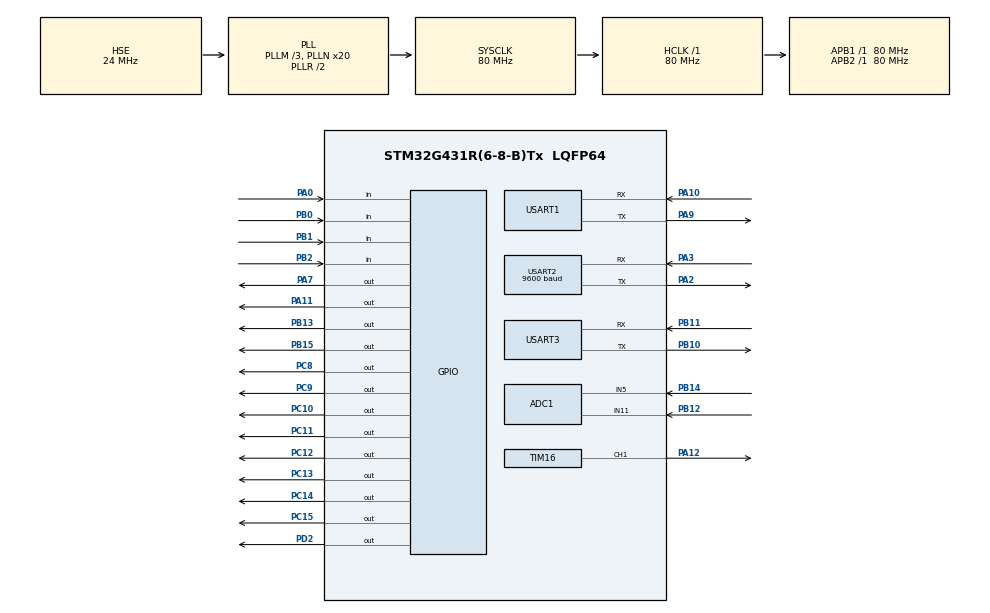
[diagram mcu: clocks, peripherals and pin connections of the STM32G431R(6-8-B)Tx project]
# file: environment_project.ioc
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ADC1.Channel-0\#ChannelRegularConversion=ADC_CHANNEL_5
ADC1.Channel-1\#ChannelRegularConversion=ADC_CHANNEL_11
ADC1.DiscontinuousConvMode=ENABLE
ADC1.NbrOfConversion=2
ADC1.NbrOfConversionFlag=1
ADC1.OffsetNumber-0\#ChannelRegularConversion=ADC_OFFSET_NONE
ADC1.OffsetNumber-1\#ChannelRegularConversion=ADC_OFFSET_NONE
ADC1.Rank-0\#ChannelRegularConversion=1
ADC1.Rank-1\#ChannelRegularConversion=2
ADC1.SamplingTime-0\#ChannelRegularConversion=ADC_SAMPLETIME_2CYCLES_5
ADC1.SamplingTime-1\#ChannelRegularConversion=ADC_SAMPLETIME_2CYCLES_5
ADC1.master=1
Mcu.Family=STM32G4
Mcu.Name=STM32G431R(6-8-B)Tx
Mcu.Package=LQFP64
NVIC.PriorityGroup=NVIC_PRIORITYGROUP_4
NVIC.USART2_IRQn=true\:0\:0\:false\:false\:true\:true\:true\:true
NVIC.USART3_IRQn=true\:0\:0\:false\:false\:true\:true\:true\:true
PA0.GPIO_PuPd=GPIO_PULLUP
PA0.Signal=GPIO_Input
PA10.Mode=Asynchronous
PA10.Signal=USART1_RX
PA11.PinState=GPIO_PIN_RESET
PA11.Signal=GPIO_Output
PA12.Signal=S_TIM16_CH1
PA13.Mode=Serial_Wire
PA13.Signal=SYS_JTMS-SWDIO
PA14.Mode=Serial_Wire
PA14.Signal=SYS_JTCK-SWCLK
PA2.Mode=Asynchronous
PA2.Signal=USART2_TX
PA3.Mode=Asynchronous
PA3.Signal=USART2_RX
PA7.Signal=GPIO_Output
PA9.Mode=Asynchronous
PA9.Signal=USART1_TX
PB0.GPIO_PuPd=GPIO_PULLUP
PB0.Signal=GPIO_Input
PB1.GPIO_PuPd=GPIO_PULLUP
PB1.Signal=GPIO_Input
PB10.Mode=Asynchronous
PB10.Signal=USART3_TX
PB11.Mode=Asynchronous
PB11.Signal=USART3_RX
PB12.Mode=IN11-Single-Ended
PB12.Signal=ADC1_IN11
PB13.Signal=GPIO_Output
PB14.Mode=IN5-Single-Ended
PB14.Signal=ADC1_IN5
PB15.Signal=GPIO_Output
PB2.GPIO_PuPd=GPIO_PULLUP
PB2.Signal=GPIO_Input
PC10.PinState=GPIO_PIN_SET
PC10.Signal=GPIO_Output
PC11.PinState=GPIO_PIN_SET
PC11.Signal=GPIO_Output
PC12.PinState=GPIO_PIN_SET
PC12.Signal=GPIO_Output
PC13.PinState=GPIO_PIN_SET
PC13.Signal=GPIO_Output
PC14-OSC32_IN.PinState=GPIO_PIN_SET
PC14-OSC32_IN.Signal=GPIO_Output
PC15-OSC32_OUT.PinState=GPIO_PIN_SET
PC15-OSC32_OUT.Signal=GPIO_Output
PC8.PinState=GPIO_PIN_SET
PC8.Signal=GPIO_Output
PC9.PinState=GPIO_PIN_SET
PC9.Signal=GPIO_Output
PD2.Signal=GPIO_Output
PF0-OSC_IN.Mode=HSE-External-Oscillator
PF0-OSC_IN.Signal=RCC_OSC_IN
PF1-OSC_OUT.Mode=HSE-External-Oscillator
PF1-OSC_OUT.Signal=RCC_OSC_OUT
ProjectManager.HeapSize=0x200
ProjectManager.StackSize=0x400
ProjectManager.TargetToolchain=MDK-ARM V5.32
RCC.ADC12Freq_Value=80000000
RCC.AHBFreq_Value=80000000
RCC.APB1Freq_Value=80000000
RCC.APB1TimFreq_Value=80000000
RCC.APB2Freq_Value=80000000
RCC.APB2TimFreq_Value=80000000
RCC.CortexFreq_Value=80000000
RCC.EXTERNAL_CLOCK_VALUE=12288000
RCC.HCLKFreq_Value=80000000
RCC.HSE_VALUE=24000000
RCC.HSI48_VALUE=48000000
RCC.HSI_VALUE=16000000
RCC.LSE_VALUE=32768
RCC.PLLM=RCC_PLLM_DIV3
RCC.PLLN=20
RCC.PLLSourceVirtual=RCC_PLLSOURCE_HSE
RCC.SYSCLKFreq_VALUE=80000000
RCC.SYSCLKSource=RCC_SYSCLKSOURCE_PLLCLK
RCC.USBFreq_Value=80000000
RCC.VCOOutputFreq_Value=160000000
SH.S_TIM16_CH1.0=TIM16_CH1,PWM Generation1 CH1
TIM16.Channel=TIM_CHANNEL_1
TIM16.PeriodNoDither=100-1
TIM16.Prescaler=80-1
USART1.VirtualMode-Asynchronous=VM_ASYNC
USART2.BaudRate=9600
USART2.VirtualMode-Asynchronous=VM_ASYNC
USART3.VirtualMode-Asynchronous=VM_ASYNC
VP_SYS_VS_DBSignals.Mode=DisableDeadBatterySignals
VP_TIM16_VS_ClockSourceINT.Mode=Enable_Timer
board=custom

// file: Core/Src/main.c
/* USER CODE BEGIN Header */
/**
  ******************************************************************************
  * @file           : main.c
  * @brief          : Main program body
  ******************************************************************************
  * @attention
  *
  * Copyright (c) 2025 STMicroelectronics.
  * All rights reserved.
  *
  * This software is licensed under terms that can be found in the LICENSE file
  * in the root directory of this software component.
  * If no LICENSE file comes with this software, it is provided AS-IS.
  *
  ******************************************************************************
  */
/* USER CODE END Header */
#include "main.h"
#include "adc.h"
#include "tim.h"
#include "usart.h"
#include "gpio.h"

/* USER CODE BEGIN Includes */
#include "header.h"
/* USER CODE END Includes */

/* USER CODE BEGIN PV */
extern uint8_t aRxBuffer;
unsigned short timeCount = 0;
unsigned char *dataPtr = NULL;
/* USER CODE END PV */

void SystemClock_Config(void);

int main(void)
{

  /* MCU Configuration--------------------------------------------------------*/

  /* Reset of all peripherals, Initializes the Flash interface and the Systick. */
  HAL_Init();

  /* Configure the system clock */
  SystemClock_Config();

  /* Initialize all configured peripherals */
  MX_GPIO_Init();
  MX_ADC1_Init();
  MX_TIM16_Init();
  MX_USART1_UART_Init();
  MX_USART2_UART_Init();
  MX_USART3_UART_Init();
  /* USER CODE BEGIN 2 */
	UsartPrintf(USART_DEBUG, "The USART1 is OK!\r\n");
    HAL_UART_Receive_IT(&huart3, (uint8_t *)&aRxBuffer, 1);

	LCD_Init();
	HAL_Delay(100);
	LCD_Clear(Green);
	LCD_SetBackColor(Green);
	LCD_SetTextColor(Red);
	all_init();
    ESP01S_Init();
    ESP01S_Clear();
	pubcmd(0);
	HAL_Delay(100);
	pubcmd_illThreshold("80");
	HAL_Delay(1000);
	pubcmd_tempThreshold("50");
	HAL_Delay(1000);
	UsartPrintf(USART_DEBUG, "Init is OK!\r\n");

  /* USER CODE END 2 */

  /* Infinite loop */
  /* USER CODE BEGIN WHILE */
  while (1)
  {
	  DHT11();
	  Esp_PUB();
	  lcd_proc();
	  key_proc();
	  uart_proc();
	  sig_proc();
//	  HAL_Delay(1000);
	  dataPtr = ESP8266_GetIPD(0);
//	  UsartPrintf(USART_DEBUG, "1%s",dataPtr);
		if(dataPtr != NULL)
		{
//			UsartPrintf(USART_DEBUG, "%s\r\n",dataPtr);
			ESP8266_GetCMD(dataPtr);
//			OneNet_RevPro(dataPtr);
		}
    /* USER CODE END WHILE */

  }
}

void SystemClock_Config(void)
{
  RCC_OscInitTypeDef RCC_OscInitStruct = {0};
  RCC_ClkInitTypeDef RCC_ClkInitStruct = {0};

  /** Configure the main internal regulator output voltage
  */
  HAL_PWREx_ControlVoltageScaling(PWR_REGULATOR_VOLTAGE_SCALE1);

  /** Initializes the RCC Oscillators according to the specified parameters
  * in the RCC_OscInitTypeDef structure.
  */
  RCC_OscInitStruct.OscillatorType = RCC_OSCILLATORTYPE_HSE;
  RCC_OscInitStruct.HSEState = RCC_HSE_ON;
  RCC_OscInitStruct.PLL.PLLState = RCC_PLL_ON;
  RCC_OscInitStruct.PLL.PLLSource = RCC_PLLSOURCE_HSE;
  RCC_OscInitStruct.PLL.PLLM = RCC_PLLM_DIV3;
  RCC_OscInitStruct.PLL.PLLN = 20;
  RCC_OscInitStruct.PLL.PLLP = RCC_PLLP_DIV2;
  RCC_OscInitStruct.PLL.PLLQ = RCC_PLLQ_DIV2;
  RCC_OscInitStruct.PLL.PLLR = RCC_PLLR_DIV2;
  if (HAL_RCC_OscConfig(&RCC_OscInitStruct) != HAL_OK)
  {
    Error_Handler();
  }

  /** Initializes the CPU, AHB and APB buses clocks
  */
  RCC_ClkInitStruct.ClockType = RCC_CLOCKTYPE_HCLK|RCC_CLOCKTYPE_SYSCLK
                              |RCC_CLOCKTYPE_PCLK1|RCC_CLOCKTYPE_PCLK2;
  RCC_ClkInitStruct.SYSCLKSource = RCC_SYSCLKSOURCE_PLLCLK;
  RCC_ClkInitStruct.AHBCLKDivider = RCC_SYSCLK_DIV1;
  RCC_ClkInitStruct.APB1CLKDivider = RCC_HCLK_DIV1;
  RCC_ClkInitStruct.APB2CLKDivider = RCC_HCLK_DIV1;

  if (HAL_RCC_ClockConfig(&RCC_ClkInitStruct, FLASH_LATENCY_2) != HAL_OK)
  {
    Error_Handler();
  }
}

void Error_Handler(void)
{
  __disable_irq();
  while (1)
  {
  }
}
